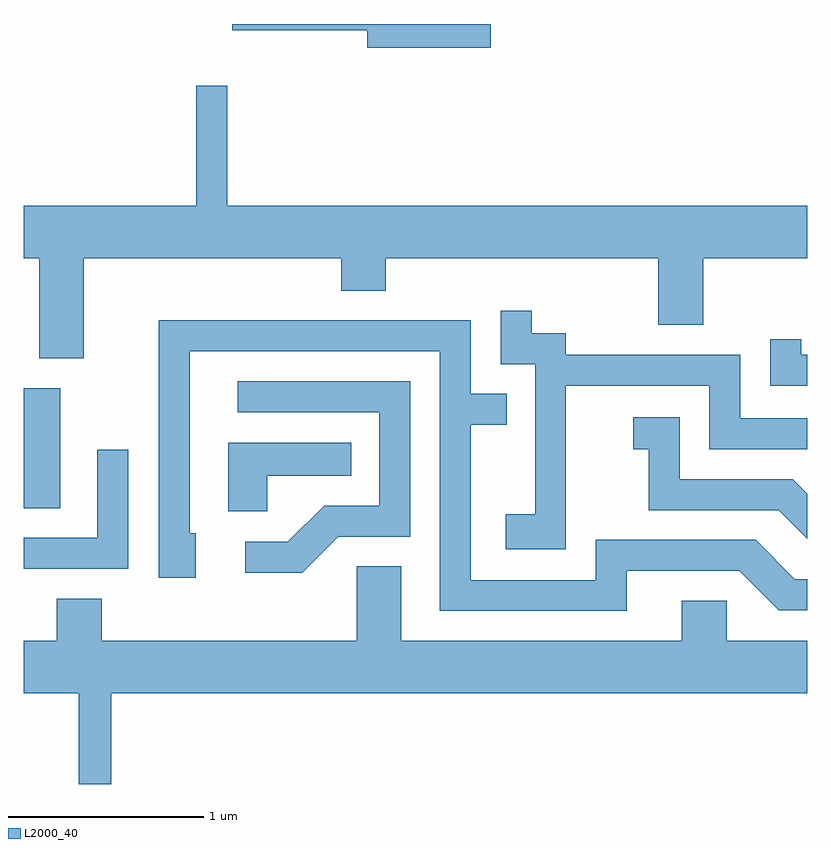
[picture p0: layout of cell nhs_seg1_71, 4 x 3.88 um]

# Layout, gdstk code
import gdstk
lib = gdstk.Library(unit=1e-6, precision=1e-09)
def R(c, l, rs):  # rectangles x0, y0, x1, y1
    for r in rs: c.add(gdstk.rectangle(r[:2], r[2:], *l))
def P(c, l, *ps):  # polygons
    for p in ps: c.add(gdstk.Polygon(p, *l))
L2000_40 = (2000, 40)

nhs_seg1_71 = lib.new_cell('nhs_seg1_71')
R(nhs_seg1_71, L2000_40, [(187.611,847.241,187.799,847.854)])
P(nhs_seg1_71, L2000_40, [(189.994,849.712),(188.676,849.712),(188.676,849.681),(189.366,849.681),(189.366,849.591),(189.994,849.591)],
  [(187.919,848.516),(189.231,848.516),(189.231,848.351),(189.459,848.351),(189.459,848.516),(190.851,848.516),(190.851,848.176),(191.079,848.176),(191.079,848.516),(191.611,848.516),(191.611,848.784),(188.649,848.784),(188.649,849.398),(188.491,849.398),(188.491,848.784),(187.611,848.784),(187.611,848.516),(187.691,848.516),(187.691,848.006),(187.919,848.006)],
  [(190.379,847.866),(191.111,847.866),(191.111,847.541),(191.611,847.541),(191.611,847.699),(191.269,847.699),(191.269,848.024),(190.379,848.024),(190.379,848.134),(190.204,848.134),(190.204,848.248),(190.046,848.248),(190.046,847.976),(190.221,847.976),(190.221,847.209),(190.071,847.209),(190.071,847.031),(190.379,847.031)],
  [(190.689,846.921),(191.264,846.921),(191.464,846.721),(191.611,846.721),(191.611,846.879),(191.547,846.879),(191.347,847.079),(190.531,847.079),(190.531,846.874),(189.894,846.874),(189.894,847.666),(190.078,847.666),(190.078,847.824),(189.894,847.824),(189.894,848.199),(188.301,848.199),(188.301,846.886),(188.489,846.886),(188.489,847.114),(188.459,847.114),(188.459,848.041),(189.736,848.041),(189.736,846.716),(190.689,846.716)],
  [(191.611,848.024),(191.579,848.024),(191.579,848.103),(191.421,848.103),(191.421,847.866),(191.611,847.866)],
  [(189.217,847.096),(189.584,847.096),(189.584,847.889),(188.703,847.889),(188.703,847.731),(189.426,847.731),(189.426,847.254),(189.144,847.254),(188.959,847.069),(188.743,847.069),(188.743,846.911),(189.032,846.911)],
  [(191.611,847.315),(191.537,847.389),(190.959,847.389),(190.959,847.704),(190.723,847.704),(190.723,847.541),(190.801,847.541),(190.801,847.231),(191.464,847.231),(191.611,847.084)],
  [(188.854,847.406),(189.283,847.406),(189.283,847.574),(188.656,847.574),(188.656,847.226),(188.854,847.226)],
  [(188.144,847.538),(187.986,847.538),(187.986,847.089),(187.611,847.089),(187.611,846.931),(188.144,846.931)],
  [(188.059,846.296),(191.611,846.296),(191.611,846.564),(191.199,846.564),(191.199,846.769),(190.971,846.769),(190.971,846.564),(189.539,846.564),(189.539,846.944),(189.311,846.944),(189.311,846.564),(188.009,846.564),(188.009,846.779),(187.781,846.779),(187.781,846.564),(187.611,846.564),(187.611,846.296),(187.891,846.296),(187.891,845.833),(188.059,845.833)])

lib.write_gds('nhs_seg1_71.gds')
